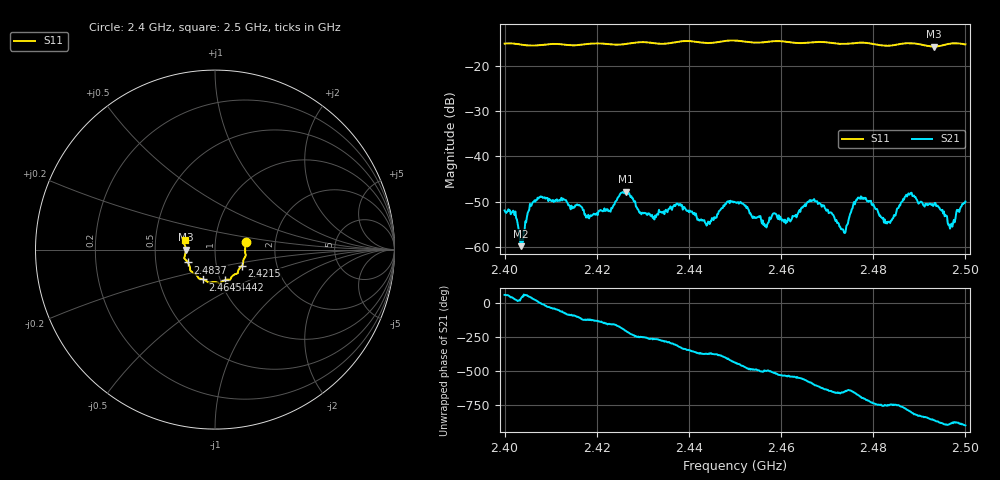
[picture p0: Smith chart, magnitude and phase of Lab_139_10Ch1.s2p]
# Hz S RI R 50
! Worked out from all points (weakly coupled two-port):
!   601 points, 2.4 GHz to 2.5 GHz, reference 50 ohm
!   highest |S21| = -47.79 dB at 2.4263 GHz (marker M1); lowest = -59.8 dB at 2.4035 GHz (marker M2)
!   lowest |S11| = -15.7 dB at 2.4932 GHz (marker M3), VSWR 1.39, Z = 35.9 - j0.0532 ohm
!   |S11| at or under -10 dB: start of sweep to end of sweep
!   S12 and S22 are empty: the file has one direction only
!   S11 on the Smith chart (normalised r, x): 2.4 GHz: 1.41, +0.12; 2.4215 GHz: 1.33, -0.25; 2.4442 GHz: 1.05, -0.37; 2.4645 GHz: 0.83, -0.29; 2.4837 GHz: 0.73, -0.11; 2.5 GHz: 0.71, +0.07
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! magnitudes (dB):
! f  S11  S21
! 2.4 GHz  -15.1  -51.9
! 2.4022 GHz  -15.1  -53.0
! 2.4035 GHz  -15.3  -59.8
! 2.4077 GHz  -15.4  -48.9
! 2.4167 GHz  -15.3  -51.1
! 2.4215 GHz  -15.1  -52.0
! 2.4263 GHz  -15.2  -47.8
! 2.4333 GHz  -15.1  -52.8
! 2.4377 GHz  -14.7  -50.5
! 2.4442 GHz  -15.0  -54.4
! 2.45 GHz  -14.4  -50.1
! 2.4567 GHz  -14.7  -55.2
! 2.4645 GHz  -15.0  -51.3
! 2.4667 GHz  -14.8  -49.7
! 2.4735 GHz  -15.1  -56.2
! 2.4772 GHz  -14.9  -49.4
! 2.4833 GHz  -15.6  -54.4
! 2.4837 GHz  -15.5  -54.7
! 2.4877 GHz  -15.0  -48.2
! 2.4932 GHz  -15.7  -50.7
! 2.4968 GHz  -15.1  -55.1
! 2.5 GHz  -15.3  -50.0
